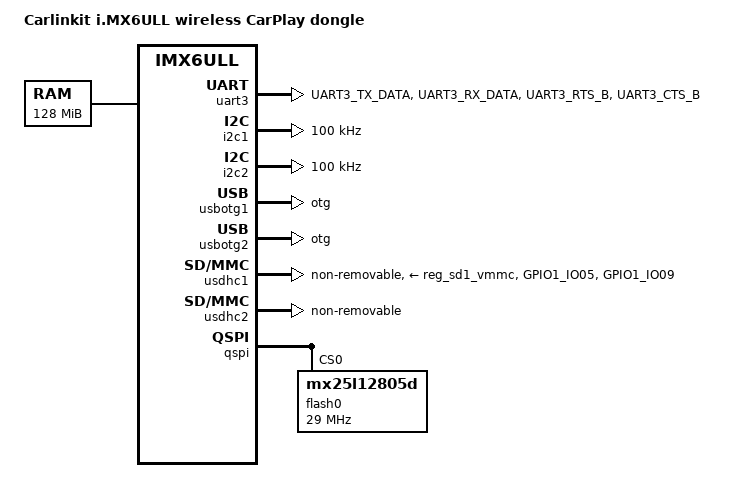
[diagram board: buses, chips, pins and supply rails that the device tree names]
// SPDX-License-Identifier: (GPL-2.0 OR MIT)
/*
 * Carlinkit wireless CarPlay dongle (i.MX6ULL + RTL8822BS).
 *
 * The board started from the i.MX6UL 14x14 EVK design.  Keep the EVK
 * peripherals used by the vendor firmware, but describe the actual ULL SoC,
 * RAM size, QSPI flash, SDIO Wi-Fi power and Bluetooth UART wiring.
 */

/dts-v1/;

#include "imx6ull.dtsi"
#include "imx6ul-14x14-evk.dtsi"

/ {
	model = "Carlinkit i.MX6ULL wireless CarPlay dongle";
	compatible = "fsl,imx6ul-14x14-evk", "fsl,imx6ull";

	/* The production dongle has 128 MiB, not the EVK's 512 MiB. */
	memory@80000000 {
		device_type = "memory";
		reg = <0x80000000 0x08000000>;
	};

	/* The EVK CMA pool alone is larger than this board's entire RAM. */
	/delete-node/ reserved-memory;
};

&clks {
	assigned-clocks = <&clks IMX6UL_CLK_PLL3_PFD2>,
			  <&clks IMX6UL_CLK_PLL4_AUDIO_DIV>;
	assigned-clock-rates = <320000000>, <786432000>;
};

/* GPIO1_IO05 is the active-low RTL8822BS WL_REG_ON line. */
&reg_sd1_vmmc {
	regulator-name = "wlreg_on";
	gpio = <&gpio1 5 GPIO_ACTIVE_LOW>;
	/delete-property/ enable-active-high;
	/delete-property/ off-on-delay-us;
	enable-active-low;
};

/* UART3 RTS/CTS pins belong to Bluetooth, not FLEXCAN1. */
/delete-node/ &can1;

/* The vendor UART2 wiring only uses TX and RX. */
&pinctrl_uart2 {
	fsl,pins = <
		MX6UL_PAD_UART2_TX_DATA__UART2_DCE_TX	0x1b0b1
		MX6UL_PAD_UART2_RX_DATA__UART2_DCE_RX	0x1b0b1
	>;
};

&iomuxc {
	pinctrl_uart3: uart3grp {
		fsl,pins = <
			MX6UL_PAD_UART3_TX_DATA__UART3_DCE_TX	0x1b0b1
			MX6UL_PAD_UART3_RX_DATA__UART3_DCE_RX	0x1b0b1
			MX6UL_PAD_UART3_RTS_B__UART3_DCE_RTS	0x1b0b1
			MX6UL_PAD_UART3_CTS_B__UART3_DCE_CTS	0x1b0b1
		>;
	};

	pinctrl_carlinkit_wifi: carlinkitwifigrp {
		fsl,pins = <
			MX6UL_PAD_GPIO1_IO05__GPIO1_IO05	0x17059
			MX6UL_PAD_GPIO1_IO09__GPIO1_IO09	0x17059
		>;
	};
};

&uart3 {
	pinctrl-names = "default";
	pinctrl-0 = <&pinctrl_uart3>;
	uart-has-rtscts;
	status = "okay";
};

/*
 * The vendor MFi authentication library opens the numbered I2C character
 * devices directly.  Keep both EVK buses and their aliases, but remove the
 * EVK-only clients: the dongle's MFi coprocessor is accessed from userspace
 * and therefore intentionally has no kernel DT child node.
 */
&i2c1 {
	clock-frequency = <100000>;
	pinctrl-names = "default";
	pinctrl-0 = <&pinctrl_i2c1>;
	status = "okay";
	/delete-node/ magnetometer@e;
	/delete-node/ fxls8471@1e;
};

&i2c2 {
	clock-frequency = <100000>;
	pinctrl-names = "default";
	pinctrl-0 = <&pinctrl_i2c2>;
	status = "okay";
	/delete-node/ wm8960@1a;
	/delete-node/ ov5640@3c;
};

/* Both connectors are dual-role in the vendor board DT. */
&usbotg1 {
	dr_mode = "otg";
	disable-over-current;
	status = "okay";
};

&usbotg2 {
	dr_mode = "otg";
	disable-over-current;
	status = "okay";
};

&pinctrl_usdhc1 {
	fsl,pins = <
		MX6UL_PAD_SD1_CMD__USDHC1_CMD		0x17059
		MX6UL_PAD_SD1_CLK__USDHC1_CLK		0x10071
		MX6UL_PAD_SD1_DATA0__USDHC1_DATA0	0x17059
		MX6UL_PAD_SD1_DATA1__USDHC1_DATA1	0x17059
		MX6UL_PAD_SD1_DATA2__USDHC1_DATA2	0x17059
		MX6UL_PAD_SD1_DATA3__USDHC1_DATA3	0x17059
	>;
};

&usdhc1 {
	pinctrl-names = "default";
	pinctrl-0 = <&pinctrl_usdhc1 &pinctrl_carlinkit_wifi>;
	/delete-property/ pinctrl-1;
	/delete-property/ pinctrl-2;
	/delete-property/ cd-gpios;
	no-1-8-v;
	non-removable;
	keep-power-in-suspend;
	wakeup-source;
	vmmc-supply = <&reg_sd1_vmmc>;
	wifi-host;
	status = "okay";
};

&usdhc2 {
	no-1-8-v;
	non-removable;
	keep-power-in-suspend;
	wakeup-source;
	status = "okay";
};

&qspi {
	/delete-node/ n25q256a@0;

	flash0: flash@0 {
		#address-cells = <1>;
		#size-cells = <1>;
		compatible = "mx25l12805d", "jedec,spi-nor";
		reg = <0>;
		spi-max-frequency = <29000000>;
		spi-rx-bus-width = <4>;
		spi-tx-bus-width = <1>;
	};
};

&gpio_spi {
	registers-default = /bits/ 8 <0xb7>;
};

/* SIM2 does not exist on i.MX6ULL. */
/delete-node/ &sim2;

/*
 * Remove EVK peripherals that are not populated on the dongle.  Besides
 * preventing pin ownership conflicts, this keeps the DTB inside the fixed
 * compressed environment-update slot used by the vendor U-Boot.
 */
/delete-node/ &can2;
/delete-node/ &csi;
/delete-node/ &fec1;
/delete-node/ &fec2;
/delete-node/ &lcdif;
/delete-node/ &pwm1;
/delete-node/ &pxp;
/delete-node/ &sai2;
/delete-node/ &sim1;
/delete-node/ &tsc;
/delete-node/ &reg_can_3v3;
/delete-node/ &reg_peri_3v3;

/ {
	/delete-node/ backlight-display;
	/delete-node/ pxp_v4l2;
	/delete-node/ sound;
	/delete-node/ sound-wm8960;

	aliases {
		/delete-property/ ethernet0;
		/delete-property/ ethernet1;
		/delete-property/ sai2;
	};
};
